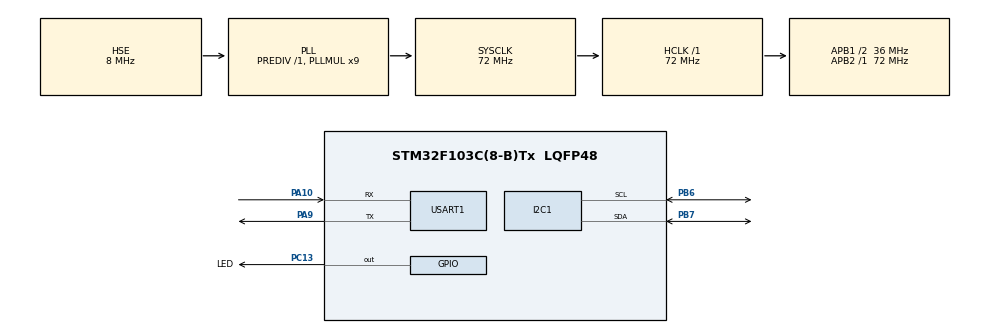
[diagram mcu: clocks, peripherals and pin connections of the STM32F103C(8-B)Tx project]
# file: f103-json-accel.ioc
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Mcu.Family=STM32F1
Mcu.Name=STM32F103C(8-B)Tx
Mcu.Package=LQFP48
NVIC.PriorityGroup=NVIC_PRIORITYGROUP_4
PA10.Mode=Asynchronous
PA10.Signal=USART1_RX
PA13.Mode=Serial_Wire
PA13.Signal=SYS_JTMS-SWDIO
PA14.Mode=Serial_Wire
PA14.Signal=SYS_JTCK-SWCLK
PA9.Mode=Asynchronous
PA9.Signal=USART1_TX
PB6.Mode=I2C
PB6.Signal=I2C1_SCL
PB7.Mode=I2C
PB7.Signal=I2C1_SDA
PC13-TAMPER-RTC.GPIO_Label=LED
PC13-TAMPER-RTC.Signal=GPIO_Output
PC14-OSC32_IN.Mode=LSE-External-Oscillator
PC14-OSC32_IN.Signal=RCC_OSC32_IN
PC15-OSC32_OUT.Mode=LSE-External-Oscillator
PC15-OSC32_OUT.Signal=RCC_OSC32_OUT
PD0-OSC_IN.Mode=HSE-External-Oscillator
PD0-OSC_IN.Signal=RCC_OSC_IN
PD1-OSC_OUT.Mode=HSE-External-Oscillator
PD1-OSC_OUT.Signal=RCC_OSC_OUT
ProjectManager.HeapSize=0x200
ProjectManager.StackSize=0x400
ProjectManager.TargetToolchain=STM32CubeIDE
RCC.AHBFreq_Value=72000000
RCC.APB1CLKDivider=RCC_HCLK_DIV2
RCC.APB1Freq_Value=36000000
RCC.APB1TimFreq_Value=72000000
RCC.APB2Freq_Value=72000000
RCC.APB2TimFreq_Value=72000000
RCC.HCLKFreq_Value=72000000
RCC.PLLMUL=RCC_PLL_MUL9
RCC.PLLSourceVirtual=RCC_PLLSOURCE_HSE
RCC.SYSCLKFreq_VALUE=72000000
RCC.SYSCLKSource=RCC_SYSCLKSOURCE_PLLCLK
RCC.USBFreq_Value=72000000
USART1.VirtualMode=VM_ASYNC
board=custom

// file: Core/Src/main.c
/* USER CODE BEGIN Header */
/**
  ******************************************************************************
  * @file           : main.c
  * @brief          : Main program body
  ******************************************************************************
  * @attention
  *
  * Copyright (c) 2024 STMicroelectronics.
  * All rights reserved.
  *
  * This software is licensed under terms that can be found in the LICENSE file
  * in the root directory of this software component.
  * If no LICENSE file comes with this software, it is provided AS-IS.
  *
  ******************************************************************************
  */
/* USER CODE END Header */
#include "main.h"

/* USER CODE BEGIN Includes */
#include <stdlib.h>
#include <stdio.h>
#include <string.h>

#include "mpu6050.h"
#include "cJSON.h"
/* USER CODE END Includes */

I2C_HandleTypeDef hi2c1;

UART_HandleTypeDef huart1;

/* USER CODE BEGIN PV */
MPU6050_t MyMPU;
cJSON *TrxJson, *MpuJson;
/* USER CODE END PV */

void SystemClock_Config(void);
static void MX_GPIO_Init(void);
static void MX_I2C1_Init(void);
static void MX_USART1_UART_Init(void);

/* USER CODE BEGIN 0 */
cJSON *_init_mpu_json(){
	cJSON *json, *accel, *gyro;

	json = cJSON_CreateObject();

	accel = cJSON_CreateObject();
	cJSON_AddNumberToObject(accel, "x", 0.0);
	cJSON_AddNumberToObject(accel, "y", 0.0);
	cJSON_AddNumberToObject(accel, "z", 0.0);
	cJSON_AddItemToObject(json, "accelerometer", accel);

	gyro = cJSON_CreateObject();
	cJSON_AddNumberToObject(gyro, "x", 0.0);
	cJSON_AddNumberToObject(gyro, "y", 0.0);
	cJSON_AddNumberToObject(gyro, "z", 0.0);
	cJSON_AddItemToObject(json, "gyroscope", gyro);

	cJSON_AddNumberToObject(json, "Temp", 0.0);

	return json;
}

void _build_mpu_json(cJSON *json, MPU6050_t *data){
	cJSON *accel, *gyro;

	accel = cJSON_GetObjectItemCaseSensitive(json, "accelerometer");
	gyro = cJSON_GetObjectItemCaseSensitive(json, "gyroscope");

	cJSON_SetNumberValue(cJSON_GetObjectItemCaseSensitive(json, "Temp"), data->Temperature);

	cJSON_SetNumberValue(cJSON_GetObjectItemCaseSensitive(accel, "x"), data->Ax);
	cJSON_SetNumberValue(cJSON_GetObjectItemCaseSensitive(accel, "y"), data->Ay);
	cJSON_SetNumberValue(cJSON_GetObjectItemCaseSensitive(accel, "z"), data->Az);

	cJSON_SetNumberValue(cJSON_GetObjectItemCaseSensitive(gyro, "x"), data->Gx);
	cJSON_SetNumberValue(cJSON_GetObjectItemCaseSensitive(gyro, "y"), data->Gy);
	cJSON_SetNumberValue(cJSON_GetObjectItemCaseSensitive(gyro, "z"), data->Gz);
}
/* USER CODE END 0 */

int main(void)
{
  /* USER CODE BEGIN 1 */
	char *Str;
  /* USER CODE END 1 */

  /* MCU Configuration--------------------------------------------------------*/

  /* Reset of all peripherals, Initializes the Flash interface and the Systick. */
  HAL_Init();

  /* Configure the system clock */
  SystemClock_Config();

  /* Initialize all configured peripherals */
  MX_GPIO_Init();
  MX_I2C1_Init();
  MX_USART1_UART_Init();
  /* USER CODE BEGIN 2 */
  MPU6050_Init(&hi2c1);

  TrxJson = cJSON_CreateObject();
  cJSON_AddStringToObject(TrxJson, "Project", "Axis Sensor");
  cJSON_AddStringToObject(TrxJson, "Version", "alpha-1");

  MpuJson = _init_mpu_json();
  cJSON_AddItemToObject(TrxJson, "Sensor Data", MpuJson);

  /* USER CODE END 2 */

  /* Infinite loop */
  /* USER CODE BEGIN WHILE */
  while (1)
  {
	  MPU6050_Read_All(&hi2c1, &MyMPU);
	  _build_mpu_json(MpuJson, &MyMPU);
	  Str = cJSON_PrintUnformatted(TrxJson);
	  HAL_UART_Transmit(&huart1, (uint8_t*)Str, strlen(Str)+1, 250);
	  free(Str);

	  HAL_Delay(500);
    /* USER CODE END WHILE */

  }
}

void SystemClock_Config(void)
{
  RCC_OscInitTypeDef RCC_OscInitStruct = {0};
  RCC_ClkInitTypeDef RCC_ClkInitStruct = {0};

  /** Initializes the RCC Oscillators according to the specified parameters
  * in the RCC_OscInitTypeDef structure.
  */
  RCC_OscInitStruct.OscillatorType = RCC_OSCILLATORTYPE_HSE;
  RCC_OscInitStruct.HSEState = RCC_HSE_ON;
  RCC_OscInitStruct.HSEPredivValue = RCC_HSE_PREDIV_DIV1;
  RCC_OscInitStruct.HSIState = RCC_HSI_ON;
  RCC_OscInitStruct.PLL.PLLState = RCC_PLL_ON;
  RCC_OscInitStruct.PLL.PLLSource = RCC_PLLSOURCE_HSE;
  RCC_OscInitStruct.PLL.PLLMUL = RCC_PLL_MUL9;
  if (HAL_RCC_OscConfig(&RCC_OscInitStruct) != HAL_OK)
  {
    Error_Handler();
  }

  /** Initializes the CPU, AHB and APB buses clocks
  */
  RCC_ClkInitStruct.ClockType = RCC_CLOCKTYPE_HCLK|RCC_CLOCKTYPE_SYSCLK
                              |RCC_CLOCKTYPE_PCLK1|RCC_CLOCKTYPE_PCLK2;
  RCC_ClkInitStruct.SYSCLKSource = RCC_SYSCLKSOURCE_PLLCLK;
  RCC_ClkInitStruct.AHBCLKDivider = RCC_SYSCLK_DIV1;
  RCC_ClkInitStruct.APB1CLKDivider = RCC_HCLK_DIV2;
  RCC_ClkInitStruct.APB2CLKDivider = RCC_HCLK_DIV1;

  if (HAL_RCC_ClockConfig(&RCC_ClkInitStruct, FLASH_LATENCY_2) != HAL_OK)
  {
    Error_Handler();
  }
}

static void MX_I2C1_Init(void)
{

  hi2c1.Instance = I2C1;
  hi2c1.Init.ClockSpeed = 100000;
  hi2c1.Init.DutyCycle = I2C_DUTYCYCLE_2;
  hi2c1.Init.OwnAddress1 = 0;
  hi2c1.Init.AddressingMode = I2C_ADDRESSINGMODE_7BIT;
  hi2c1.Init.DualAddressMode = I2C_DUALADDRESS_DISABLE;
  hi2c1.Init.OwnAddress2 = 0;
  hi2c1.Init.GeneralCallMode = I2C_GENERALCALL_DISABLE;
  hi2c1.Init.NoStretchMode = I2C_NOSTRETCH_DISABLE;
  if (HAL_I2C_Init(&hi2c1) != HAL_OK)
  {
    Error_Handler();
  }

}

static void MX_USART1_UART_Init(void)
{

  huart1.Instance = USART1;
  huart1.Init.BaudRate = 115200;
  huart1.Init.WordLength = UART_WORDLENGTH_8B;
  huart1.Init.StopBits = UART_STOPBITS_1;
  huart1.Init.Parity = UART_PARITY_NONE;
  huart1.Init.Mode = UART_MODE_TX_RX;
  huart1.Init.HwFlowCtl = UART_HWCONTROL_NONE;
  huart1.Init.OverSampling = UART_OVERSAMPLING_16;
  if (HAL_UART_Init(&huart1) != HAL_OK)
  {
    Error_Handler();
  }

}

static void MX_GPIO_Init(void)
{
  GPIO_InitTypeDef GPIO_InitStruct = {0};

  /* GPIO Ports Clock Enable */
  __HAL_RCC_GPIOC_CLK_ENABLE();
  __HAL_RCC_GPIOD_CLK_ENABLE();
  __HAL_RCC_GPIOA_CLK_ENABLE();
  __HAL_RCC_GPIOB_CLK_ENABLE();

  /*Configure GPIO pin Output Level */
  HAL_GPIO_WritePin(LED_GPIO_Port, LED_Pin, GPIO_PIN_RESET);

  /*Configure GPIO pin : LED_Pin */
  GPIO_InitStruct.Pin = LED_Pin;
  GPIO_InitStruct.Mode = GPIO_MODE_OUTPUT_PP;
  GPIO_InitStruct.Pull = GPIO_NOPULL;
  GPIO_InitStruct.Speed = GPIO_SPEED_FREQ_LOW;
  HAL_GPIO_Init(LED_GPIO_Port, &GPIO_InitStruct);

}

void Error_Handler(void)
{
  __disable_irq();
  while (1)
  {
  }
}
